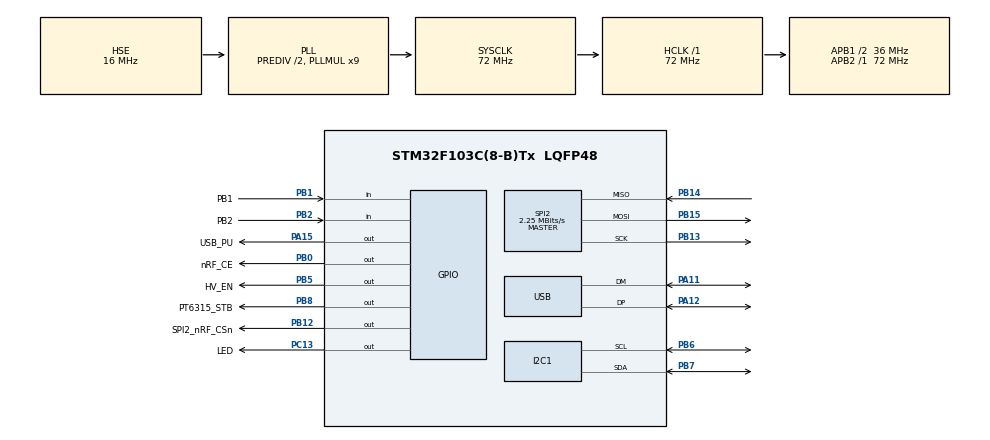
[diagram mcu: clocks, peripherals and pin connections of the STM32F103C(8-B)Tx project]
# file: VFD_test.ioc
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Mcu.Family=STM32F1
Mcu.Name=STM32F103C(8-B)Tx
Mcu.Package=LQFP48
NVIC.PriorityGroup=NVIC_PRIORITYGROUP_4
NVIC.USB_LP_CAN1_RX0_IRQn=true\:0\:0\:false\:false\:true\:false\:true
PA11.Mode=Device
PA11.Signal=USB_DM
PA12.Mode=Device
PA12.Signal=USB_DP
PA13.Mode=Serial_Wire
PA13.Signal=SYS_JTMS-SWDIO
PA14.Mode=Serial_Wire
PA14.Signal=SYS_JTCK-SWCLK
PA15.GPIO_Label=USB_PU
PA15.Signal=GPIO_Output
PB0.GPIO_Label=nRF_CE
PB0.Signal=GPIO_Output
PB1.GPIO_Label=PB1
PB1.Signal=GPIO_Input
PB12.GPIO_Label=SPI2_nRF_CSn
PB12.Signal=GPIO_Output
PB13.Mode=Full_Duplex_Master
PB13.Signal=SPI2_SCK
PB14.Mode=Full_Duplex_Master
PB14.Signal=SPI2_MISO
PB15.Mode=Full_Duplex_Master
PB15.Signal=SPI2_MOSI
PB2.GPIO_Label=PB2
PB2.Signal=GPIO_Input
PB5.GPIO_Label=HV_EN
PB5.Signal=GPIO_Output
PB6.Mode=I2C
PB6.Signal=I2C1_SCL
PB7.Mode=I2C
PB7.Signal=I2C1_SDA
PB8.GPIO_Label=PT6315_STB
PB8.PinState=GPIO_PIN_SET
PB8.Signal=GPIO_Output
PC13-TAMPER-RTC.GPIO_Label=LED
PC13-TAMPER-RTC.PinState=GPIO_PIN_SET
PC13-TAMPER-RTC.Signal=GPIO_Output
PD0-OSC_IN.Mode=HSE-External-Oscillator
PD0-OSC_IN.Signal=RCC_OSC_IN
PD1-OSC_OUT.Mode=HSE-External-Oscillator
PD1-OSC_OUT.Signal=RCC_OSC_OUT
ProjectManager.HeapSize=0x200
ProjectManager.StackSize=0x400
ProjectManager.TargetToolchain=STM32CubeIDE
RCC.AHBFreq_Value=72000000
RCC.APB1CLKDivider=RCC_HCLK_DIV2
RCC.APB1Freq_Value=36000000
RCC.APB1TimFreq_Value=72000000
RCC.APB2Freq_Value=72000000
RCC.APB2TimFreq_Value=72000000
RCC.HCLKFreq_Value=72000000
RCC.HSEDivPLL=RCC_HSE_PREDIV_DIV2
RCC.HSE_VALUE=16000000
RCC.PLLMUL=RCC_PLL_MUL9
RCC.PLLSourceVirtual=RCC_PLLSOURCE_HSE
RCC.SYSCLKFreq_VALUE=72000000
RCC.SYSCLKSource=RCC_SYSCLKSOURCE_PLLCLK
RCC.USBFreq_Value=48000000
RCC.USBPrescaler=RCC_USBCLKSOURCE_PLL_DIV1_5
SPI2.BaudRatePrescaler=SPI_BAUDRATEPRESCALER_16
SPI2.CLKPhase=SPI_PHASE_1EDGE
SPI2.CLKPolarity=SPI_POLARITY_LOW
SPI2.CalculateBaudRate=2.25 MBits/s
SPI2.Direction=SPI_DIRECTION_2LINES
SPI2.FirstBit=SPI_FIRSTBIT_LSB
SPI2.Mode=SPI_MODE_MASTER
SPI2.VirtualType=VM_MASTER
TIM1.AutoReloadPreload=TIM_AUTORELOAD_PRELOAD_ENABLE
TIM1.Prescaler=HAL_RCC_GetSysClockFreq()/1000000-1
USB_DEVICE.CLASS_NAME_FS=CDC
USB_DEVICE.VirtualMode=Cdc
USB_DEVICE.VirtualModeFS=Cdc_FS
VP_TIM1_VS_ClockSourceINT.Mode=Internal
VP_USB_DEVICE_VS_USB_DEVICE_CDC_FS.Mode=CDC_FS
board=custom

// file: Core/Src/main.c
/* USER CODE BEGIN Header */
/**
  ******************************************************************************
  * @file           : main.c
  * @brief          : Main program body
  ******************************************************************************
  * @attention
  *
  * <h2><center>&copy; Copyright (c) 2021 STMicroelectronics.
  * All rights reserved.</center></h2>
  *
  * This software component is licensed by ST under BSD 3-Clause license,
  * the "License"; You may not use this file except in compliance with the
  * License. You may obtain a copy of the License at:
  *                        opensource.org/licenses/BSD-3-Clause
  *
  ******************************************************************************
  */
/* USER CODE END Header */
#include "main.h"
#include "usb_device.h"

/* USER CODE BEGIN Includes */
#include "vfd.h"
#include "nrf24l01p.h"
#include "string.h"
#include "usbd_cdc_if.h"
#include "microrl_cmd.h"
#include "fifo.h"

#include "nrff.h"

/* USER CODE END Includes */

I2C_HandleTypeDef hi2c1;

SPI_HandleTypeDef hspi2;

TIM_HandleTypeDef htim1;

void SystemClock_Config(void);
static void MX_GPIO_Init(void);
static void MX_SPI2_Init(void);
static void MX_I2C1_Init(void);
static void MX_TIM1_Init(void);
/* USER CODE BEGIN PFP */

void do_microrl(void);
bool do_nrf_scan(int8_t command);

/* USER CODE END PFP */

/* USER CODE BEGIN 0 */

uint32_t nrff_get_tick()
{
	return HAL_GetTick();
}

uint32_t last_active_time;
bool active_berserk = false;

void active(void)
{
	last_active_time = HAL_GetTick();
}

enum
{
    NRF_CHANNEL = 111,
    NRF_POWER_UP_DELAY = 2,
    NRF_PAYLOAD_LENGTH = 32,
    NRF_RETRANSMITS = 5,
    NRF_RETRANSMIT_DELAY = 500
};

uint8_t address[5] = { 0x31, 0x41, 0x59, 0x26, 0x56 };

#define PB1 (HAL_GPIO_ReadPin(PB1_GPIO_Port, PB1_Pin))
#define PB2 (HAL_GPIO_ReadPin(PB2_GPIO_Port, PB2_Pin))

// delays for us count
void delay_us(uint16_t us)
{
	__HAL_TIM_SET_COUNTER(&htim1,0);
	while ((uint16_t)__HAL_TIM_GET_COUNTER(&htim1) < us);
}

void delay(uint32_t delay)
{
	HAL_Delay(delay);
}

void nrf_init_tx(uint8_t *address)
{
    nrf24l01p_get_clear_irq_flags();
    nrf24l01p_close_pipe(NRF24L01P_ALL);
    nrf24l01p_open_pipe(NRF24L01P_TX, true);

    nrf24l01p_set_datarate(NRF24L01P_250KBPS);

    nrf24l01p_set_auto_retr(NRF_RETRANSMITS, NRF_RETRANSMIT_DELAY);
    nrf24l01p_open_pipe(NRF24L01P_PIPE0, true);
    nrf24l01p_set_address(NRF24L01P_PIPE0, address);

    nrf24l01p_set_crc_mode(NRF24L01P_CRC_16BIT);
    nrf24l01p_set_address_width(NRF24L01P_AW_5BYTES);
    nrf24l01p_set_address(NRF24L01P_TX, address);
    nrf24l01p_set_operation_mode(NRF24L01P_PTX);
    nrf24l01p_set_rf_channel(NRF_CHANNEL);

    nrf24l01p_set_power_mode(NRF24L01P_PWR_UP);
    delay(NRF_POWER_UP_DELAY);
}

void nrf_init_rx(uint8_t *address)
{
    nrf24l01p_get_clear_irq_flags();
    nrf24l01p_close_pipe(NRF24L01P_ALL);
    nrf24l01p_open_pipe(NRF24L01P_PIPE0, true);

    nrf24l01p_set_datarate(NRF24L01P_250KBPS);

    nrf24l01p_set_crc_mode(NRF24L01P_CRC_16BIT);
    nrf24l01p_set_address_width(NRF24L01P_AW_5BYTES);
    nrf24l01p_set_address(NRF24L01P_PIPE0, address);
    nrf24l01p_set_operation_mode(NRF24L01P_PRX);
    nrf24l01p_set_rx_payload_width(NRF24L01P_PIPE0, NRF_PAYLOAD_LENGTH);
    nrf24l01p_set_rf_channel(NRF_CHANNEL);

    nrf24l01p_set_power_mode(NRF24L01P_PWR_UP);
    delay(NRF_POWER_UP_DELAY);
}

void nrf24l01p_spi_ss(nrf24l01p_spi_ss_level_t level)
{
	// we will transmit data to nRF, MSB FIRST
	if (!level)
		hspi2.Instance->CR1 &= ~(SPI_CR1_LSBFIRST);
	HAL_GPIO_WritePin(SPI2_nRF_CSn_GPIO_Port, SPI2_nRF_CSn_Pin, level);
	// we will transmit data to VFD, LSB FIRST
	if (level)
		hspi2.Instance->CR1 |= SPI_CR1_LSBFIRST;
}

uint8_t nrf24l01p_spi_rw(uint8_t value)
{
	uint8_t data;
	HAL_SPI_TransmitReceive(&hspi2, &value, &data, 1, 100);
	return data;
}

void vfd_spi_cs(vfd_cs_t cs)
{
	HAL_GPIO_WritePin(PT6315_STB_GPIO_Port, PT6315_STB_Pin, cs);
}

void vfd_spi_tx(uint8_t *pData, uint16_t Size)
{
	HAL_SPI_Transmit(&hspi2, pData, Size, 100);
}

void do_vfd_init(void)
{
#define FULL_DEMO (0)
	vfd_spi_cs(VFD_CS_HIGH);
	HAL_GPIO_WritePin(HV_EN_GPIO_Port, HV_EN_Pin, 1);
	HAL_Delay(10);

	vfd_init(); // init display, 11 digits 17 segments
	vfd_leds(0); // disable leds

	for (int i = 0; i < sizeof(vfd.arr1); i++) {
		vfd.arr1[i] = 0xFF;
	}

	vfd_update();
	vfd_control(true, 0b111);

	if(FULL_DEMO)
	{
		// change brightness
		for (uint8_t i = 0; i <= 0b111; i++) {
			vfd_control(true, i);
			HAL_Delay(250);
			do_microrl();
		}

		for (int i = 0; i < 11; i++) {
			for (int b = 0; b < 3; b++) // erasing from right to left
			{
				vfd.arr2[i][b] = 0;
			}
			vfd_update();
			HAL_Delay(150);
			do_microrl();
		}
		HAL_Delay(500);
		do_microrl();
	}

	//erase everything... just in case
	vfd_clear_buf();

	// fill everything
	for (int j = 1; j < 15; j++) {
		uint32_t temp = 1 << j;
		for (int i = 1; i < 11; i++) {
			for (int b = 0; b < 3; b++) {
				vfd.arr2[i][b] |= (temp >> (b << 3)) & 0xFF;
			}
		}
		vfd_update();
		HAL_Delay(100);
		do_microrl();
	}

	const uint32_t arr[] = {
			VFD_SYM_COLON,
			VFD_SYM_DIGITAL,
			VFD_SYM_ANALOG,
			VFD_SYM_BRACKET_RIGHT,
			VFD_SYM_SMALL_ARROW_LEFT,
			VFD_SYM_BRACKET_LEFT,
			VFD_SYM_SMALL_ARROW_RIGHT,
			VFD_SYM_DCC,
	};

	for (int j = 0; j < sizeof(arr)/sizeof(arr[0]); j++) {
		vfd_set_symbols(arr[j]);
		vfd_update();
		HAL_Delay(50);
		do_microrl();
	}

	for (int j = 0; j < 17; j++) {
		vfd_set_symbols(1<<j);
		vfd_update();
		HAL_Delay(50);
		do_microrl();
	}

	vfd_clear_buf();
	HAL_Delay(500);
}

void do_led(void)
{
	static uint32_t last_time = 0;
	if (HAL_GetTick() - last_time < 500)
		return;
	last_time = HAL_GetTick();
	HAL_GPIO_TogglePin(LED_GPIO_Port, LED_Pin);
}

void do_fram_test(void)
{
	bool read(void)
	{
		uint8_t temp;
		HAL_I2C_Mem_Read(&hi2c1, 0b10100000, 0x42, 1, &temp, 1, 10);
		if (temp != 0x42)
			return false;
		HAL_I2C_Mem_Read(&hi2c1, 0b10100010, 0x5A, 1, &temp, 1, 10);
		if (temp != 0xA5)
			return false;
		return true;
	}
	void write(void)
	{
		uint8_t temp = 0x42;
		HAL_I2C_Mem_Write(&hi2c1, 0b10100000, 0x42, 1, &temp, 1, 10);
		temp = 0xA5;
		HAL_I2C_Mem_Write(&hi2c1, 0b10100010, 0x5A, 1, &temp, 1, 10);
	}
	static uint32_t last_time = 0;
	if (HAL_GetTick() - last_time < 200)
		return;
	if (PB1 && PB2)
	{
		HAL_GPIO_WritePin(LED_GPIO_Port, LED_Pin, 0); // turn led on
		vfd_put_string("FRAM TEST");
		vfd_update();
		for (int i = 0; i < 3; i++)
		{
			vfd_leds(~(1<<i));
			HAL_Delay(250);
		}
		vfd_leds(0b1111);
		HAL_Delay(500);
		if (read())
		{
			vfd_leds(0b0100);
			vfd_put_string("FRAM FOUND");
			vfd_update();
		}
		else
		{
			vfd_leds(0b0001);
			write();
			HAL_Delay(500);
			if (read())
			{
				vfd_leds(0b0011);
				vfd_put_string("FRAM OKAY");
				vfd_update();
			}
			else
			{
				vfd_leds(0b1000);
				vfd_put_string("NO FRAM!");
				vfd_update();
			}
		}

		while(PB1);
		if (PB2)
		{
			// PB2 still pressed, erase RAM
			vfd_leds(0b1001);
			uint8_t zero[256] = {0};
			//first half
			HAL_I2C_Mem_Write(&hi2c1, 0b10100000, 0, 1, zero, sizeof(zero), 200);
			//second half
			HAL_I2C_Mem_Write(&hi2c1, 0b10100010, 0, 1, zero, sizeof(zero), 200);
			HAL_Delay(500);
			vfd_leds(0b1010);
			while (PB2);
		}
	}
	last_time = HAL_GetTick();
}

#define BIT(index) ((uint8_t)1 << (uint8_t)(index))
#define BIT_COND(data,index,condition) (((uint8_t)(data) & ~BIT(index)) | ((condition) ? BIT(index) : (uint8_t)0))
bool do_buttons_and_nrf(void)
{
	static bool set_rx = true;
	static uint32_t last_time = 0;
	if (HAL_GetTick() - last_time < (set_rx?290:270))
		return false;
	last_time = HAL_GetTick();

	static uint32_t good = 0, total = 0;

	if (PB1 ^ PB2)
	{
		// we need to transmit
		set_rx = true;
		HAL_GPIO_WritePin(nRF_CE_GPIO_Port, nRF_CE_Pin, 0);
		HAL_Delay(10);
		nrf_init_tx(address);

		static uint8_t payload[NRF_PAYLOAD_LENGTH];
		memset(payload, 0x44, sizeof(payload));
		if (PB1)
			payload[0] = 1;
		else if (PB2)
			payload[0] = 2;
		else
			return false;
		nrf24l01p_write_tx_payload(payload, sizeof(payload));

		HAL_GPIO_WritePin(nRF_CE_GPIO_Port, nRF_CE_Pin, 1);
		HAL_Delay(1);
		HAL_GPIO_WritePin(nRF_CE_GPIO_Port, nRF_CE_Pin, 0);

		if (payload[0] == 1)
		{
			vfd_leds(0b0001);
		}
		else
		{
			vfd_leds(0b0010);
		}
		vfd_update();

		uint32_t timeout_cnt = HAL_GetTick();

		total++;

		do {
			if (nrf24l01p_get_irq_flags() & (1 << NRF24L01P_IRQ_TX_DS))
			{
				//successfully transmitted
				good++;
				if (total >= 10)
				{
					char t_buf[11];
					snprintf(t_buf, 11, "-%ld+%ld", total-good, good);
					vfd_put_string(t_buf);
				} else if (payload[0] == 1)
					vfd_put_string("PB1 TX");
				else
					vfd_put_string("PB2 TX");
				vfd_update();
				nrf24l01p_clear_irq_flag(NRF24L01P_IRQ_TX_DS);
				break;
			}
			if (nrf24l01p_get_irq_flags() & (1 << NRF24L01P_IRQ_MAX_RT))
			{
				// not send
				vfd_set_symbols(VFD_SYM_ARROW_LEFT);
				vfd_leds(0b1000);
				if (total >= 10)
				{
					char t_buf[11];
					snprintf(t_buf, 11, "-%ld+%ld", total-good, good);
					vfd_put_string(t_buf);
				} else if (payload[0] == 1)
					vfd_put_string("PB1 MAX RT");
				else
					vfd_put_string("PB2 MAX RT");
				vfd_update();
				nrf24l01p_clear_irq_flag(NRF24L01P_IRQ_MAX_RT);
				nrf24l01p_flush_tx();

				uint32_t but_hold = HAL_GetTick();
				while(active_berserk && (PB1 || PB2))
				{
					if (HAL_GetTick() - but_hold > 2000)
					{
						vfd_put_string("BERSERK");
						vfd_update();
						nrf24l01p_set_operation_mode(NRF24L01P_PTX);

						nrf24l01p_set_rf_channel(NRF_CHANNEL);
						nrf24l01p_set_power_mode(NRF24L01P_PWR_UP);
						nrf24l01p_set_pll_mode(NRF24L01P_PLL_LOCK);
						nrf24l01p_write_reg(NRF24L01P_RF_SETUP,
								BIT_COND(nrf24l01p_read_reg(NRF24L01P_RF_SETUP),
										NRF24L01P_RF_SETUP_CONT_WAVE, 1));
						delay(NRF_POWER_UP_DELAY);
						HAL_GPIO_WritePin(nRF_CE_GPIO_Port, nRF_CE_Pin, 1);
						while(PB1||PB2);
						nrf24l01p_write_reg(NRF24L01P_RF_SETUP,
								BIT_COND(nrf24l01p_read_reg(NRF24L01P_RF_SETUP),
										NRF24L01P_RF_SETUP_CONT_WAVE, 0));
						nrf24l01p_set_pll_mode(NRF24L01P_PLL_UNLOCK);
						HAL_GPIO_WritePin(nRF_CE_GPIO_Port, nRF_CE_Pin, 0);
					}
				}
				break;
			}
			if (HAL_GetTick() - timeout_cnt > 200)
			{
				// timeout error
				vfd_set_symbols(VFD_SYM_ARROW_RIGHT);
				vfd_leds(0b1011);
				if (total >= 10)
				{
					char t_buf[11];
					snprintf(t_buf, 11, "-%ld+%ld", total-good, good);
					vfd_put_string(t_buf);
				} else if (payload[0] == 1)
					vfd_put_string("PB1 T/OUT");
				else
					vfd_put_string("PB2 T/OUT");
				vfd_update();
				nrf24l01p_flush_tx();
				//while(PB1||PB2);
				break;
			}

		} while (1);
		return true; // we where active
	}
	else
	{
		// we need to receive
		good = 0;
		total = 0;

		if (set_rx)
		{
			set_rx = false;
			nrf_init_rx(address);
			HAL_GPIO_WritePin(nRF_CE_GPIO_Port, nRF_CE_Pin, 1);
		}

		if (nrf24l01p_get_irq_flags() & (1 << NRF24L01P_IRQ_RX_DR))
		{
			nrf24l01p_clear_irq_flag(NRF24L01P_IRQ_RX_DR);

			uint8_t payload[NRF_PAYLOAD_LENGTH];

			while (!nrf24l01p_rx_fifo_empty())
				nrf24l01p_read_rx_payload(payload);

			if (payload[0] == 1)
			{
				vfd_leds(0b0101);
				vfd_put_string("* RX PB1 *");
				vfd_set_symbols(VFD_SYM_ARROW_LEFT);
				vfd_update();
			}
			else if (payload[0] == 2)
			{
				vfd_leds(0b0110);
				vfd_put_string("* RX PB2 *");
				vfd_set_symbols(VFD_SYM_ARROW_RIGHT);
				vfd_update();
			}
			return true; // we have something received
		}
		else
		{
			// no buttons pressed and nothing received
			return false;
		}
	}
	return false;
}

void do_microrl(void)
{
	while (!fifo_is_empty())
	{
		uint8_t buf = fifo_pop();
		microrl_print_char(buf);
	}
}

void sigint(void)
{
	print (ENDL);
	print ("^C catched!");
	do_nrf_scan(-1);
	active();
	vfd_put_string("CTRL + C");
	vfd_set_symbols(VFD_SYM_DCC);
	vfd_update();
	vfd_update();

	// emulate ENTER input to print the promptexecute
	char * p = ENDL;
	while(*p) fifo_push(*(p++));
}

bool do_nrf_scan(int8_t command)
{
	static bool active = false;
	static uint8_t arr[NRF24L01P_CHANNELS_COUNT] = {0};

	if (command == -1)
	{
		active = false;
		print(ENDL);
		print("O000000000000000111111111111111122222222222222223333333333333333");
		print("44444444444444445555555555555555666666666666666677777777777777");
		print(ENDL);
		print("O123456789abcdef0123456789abcdef0123456789abcdef0123456789abcdef");
		print("0123456789abcdef0123456789abcdef0123456789abcdef0123456789abcd");
		print(ENDL);
	}
	if (command == 1)
	{
		memset(arr, 0, NRF24L01P_CHANNELS_COUNT);
		print("O000000000000000111111111111111122222222222222223333333333333333");
		print("44444444444444445555555555555555666666666666666677777777777777");
		print(ENDL);
		print("O123456789abcdef0123456789abcdef0123456789abcdef0123456789abcdef");
		print("0123456789abcdef0123456789abcdef0123456789abcdef0123456789abcd");
		print(ENDL);
		active = true;
		return false;
	}
	if (!active)
		return false;

	HAL_GPIO_WritePin(nRF_CE_GPIO_Port, nRF_CE_Pin,0);
	nrf24l01p_get_clear_irq_flags();
    nrf24l01p_close_pipe(NRF24L01P_ALL);
    nrf24l01p_open_pipe(NRF24L01P_PIPE0, false);
    uint8_t add[] = {0x05, 0xA5, 0x55, 0xA5, 0x50};
    nrf24l01p_set_address(NRF24L01P_PIPE0, add);
    nrf24l01p_set_operation_mode(NRF24L01P_PRX);
    nrf24l01p_set_rx_payload_width(NRF24L01P_PIPE0, NRF_PAYLOAD_LENGTH);
    nrf24l01p_set_power_mode(NRF24L01P_PWR_UP);
    delay(NRF_POWER_UP_DELAY);

	for (int i = 0; i < NRF24L01P_CHANNELS_COUNT; i++)
	{
	    nrf24l01p_set_rf_channel(i);
		HAL_GPIO_WritePin(nRF_CE_GPIO_Port, nRF_CE_Pin,1);
		delay_us(5000);
		HAL_GPIO_WritePin(nRF_CE_GPIO_Port, nRF_CE_Pin,0);
		if (nrf24l01p_get_carrier_detect())
			if (arr[i] < 0xff)
				arr[i]++;
	}
	uint8_t packet[NRF24L01P_CHANNELS_COUNT + 1] = {0};
	for (int i = 0; i < NRF24L01P_CHANNELS_COUNT; i++)
	{
		if (arr[i] >=0xa0)
			packet[i] = ((arr[i]>>4)&0xF) + 'A' - 0xa;
		else
			packet[i] = (arr[i] < 0xf?arr[i]:0xf) + ((arr[i] < 10)?'0':('a' - 0xa));
	}
	print((char *)packet);
	print(ENDL);
	return true;
}

int nrf_scan (int argc, const char * const * argv)
{
	vfd_put_string("NRF SCAN");
	do_nrf_scan(1);
	vfd_update();
	active();
	return 0;
}
/* USER CODE END 0 */

int main(void)
{

  /* MCU Configuration--------------------------------------------------------*/

  /* Reset of all peripherals, Initializes the Flash interface and the Systick. */
  HAL_Init();

  /* Configure the system clock */
  SystemClock_Config();

  /* Initialize all configured peripherals */
  MX_GPIO_Init();
  MX_SPI2_Init();
  MX_I2C1_Init();
  MX_USB_DEVICE_Init();
  MX_TIM1_Init();
  /* USER CODE BEGIN 2 */
  __HAL_SPI_ENABLE(&hspi2);
  HAL_TIM_Base_Start(&htim1);

  HAL_GPIO_WritePin(USB_PU_GPIO_Port, USB_PU_Pin, 1);
  init_microrl(); // we are ready for microrl!

  uint8_t test;
  nrf24l01p_spi_ss(NRF24L01P_SPI_SS_HIGH);

  if (PB1 || PB2)
	  active_berserk = true;
  else
	  HAL_GPIO_WritePin(LED_GPIO_Port, LED_Pin, 0);

  do_vfd_init();

  test = nrf24l01p_nop();
  if ((test&0b1110) == 0b1110)
  {
	  vfd_put_string("NRF24L01+");
	  vfd_set_symbols(VFD_SYM_DOLBY);
  }
  else
  {
	  vfd_put_string("VFD FV651G");
  }
  vfd_update();

  /* USER CODE END 2 */

  /* Infinite loop */
  /* USER CODE BEGIN WHILE */

  last_active_time = HAL_GetTick();
  while (1)
  {
	  do_led();
	  do_fram_test();
	  do_microrl();
	  if (do_nrf_scan(0))
	  {
		  // last_active_time = HAL_GetTick();
		  // disable display for long tests
	  }
	  else if (do_buttons_and_nrf())
	  {
		  last_active_time = HAL_GetTick();
	  }

	  // disable if inactive

	  if (HAL_GetTick() - last_active_time > 1000)
	  {
		  vfd_leds(0);
		  vfd_clr_symbols(~VFD_SYM_DOLBY);
		  vfd_update();
	  }

	  if (HAL_GetTick() - last_active_time > 10000)
		  HAL_GPIO_WritePin(HV_EN_GPIO_Port, HV_EN_Pin, 0);
	  else
	  {
		  HAL_GPIO_WritePin(HV_EN_GPIO_Port, HV_EN_Pin, 1);
		  if (HAL_GetTick() - last_active_time > 3000)
		  {
			  char buf [11];
			  memset(buf, '\0', sizeof(buf));
			  memset(buf, '_', 10-((HAL_GetTick() - last_active_time)/1000));
			  vfd_put_string(buf);
			  vfd_update();
		  }
	  }

    /* USER CODE END WHILE */

  }
}

void SystemClock_Config(void)
{
  RCC_OscInitTypeDef RCC_OscInitStruct = {0};
  RCC_ClkInitTypeDef RCC_ClkInitStruct = {0};
  RCC_PeriphCLKInitTypeDef PeriphClkInit = {0};

  /** Initializes the RCC Oscillators according to the specified parameters
  * in the RCC_OscInitTypeDef structure.
  */
  RCC_OscInitStruct.OscillatorType = RCC_OSCILLATORTYPE_HSE;
  RCC_OscInitStruct.HSEState = RCC_HSE_ON;
  RCC_OscInitStruct.HSEPredivValue = RCC_HSE_PREDIV_DIV2;
  RCC_OscInitStruct.HSIState = RCC_HSI_ON;
  RCC_OscInitStruct.PLL.PLLState = RCC_PLL_ON;
  RCC_OscInitStruct.PLL.PLLSource = RCC_PLLSOURCE_HSE;
  RCC_OscInitStruct.PLL.PLLMUL = RCC_PLL_MUL9;
  if (HAL_RCC_OscConfig(&RCC_OscInitStruct) != HAL_OK)
  {
    Error_Handler();
  }
  /** Initializes the CPU, AHB and APB buses clocks
  */
  RCC_ClkInitStruct.ClockType = RCC_CLOCKTYPE_HCLK|RCC_CLOCKTYPE_SYSCLK
                              |RCC_CLOCKTYPE_PCLK1|RCC_CLOCKTYPE_PCLK2;
  RCC_ClkInitStruct.SYSCLKSource = RCC_SYSCLKSOURCE_PLLCLK;
  RCC_ClkInitStruct.AHBCLKDivider = RCC_SYSCLK_DIV1;
  RCC_ClkInitStruct.APB1CLKDivider = RCC_HCLK_DIV2;
  RCC_ClkInitStruct.APB2CLKDivider = RCC_HCLK_DIV1;

  if (HAL_RCC_ClockConfig(&RCC_ClkInitStruct, FLASH_LATENCY_2) != HAL_OK)
  {
    Error_Handler();
  }
  PeriphClkInit.PeriphClockSelection = RCC_PERIPHCLK_USB;
  PeriphClkInit.UsbClockSelection = RCC_USBCLKSOURCE_PLL_DIV1_5;
  if (HAL_RCCEx_PeriphCLKConfig(&PeriphClkInit) != HAL_OK)
  {
    Error_Handler();
  }
}

static void MX_I2C1_Init(void)
{

  hi2c1.Instance = I2C1;
  hi2c1.Init.ClockSpeed = 100000;
  hi2c1.Init.DutyCycle = I2C_DUTYCYCLE_2;
  hi2c1.Init.OwnAddress1 = 0;
  hi2c1.Init.AddressingMode = I2C_ADDRESSINGMODE_7BIT;
  hi2c1.Init.DualAddressMode = I2C_DUALADDRESS_DISABLE;
  hi2c1.Init.OwnAddress2 = 0;
  hi2c1.Init.GeneralCallMode = I2C_GENERALCALL_DISABLE;
  hi2c1.Init.NoStretchMode = I2C_NOSTRETCH_DISABLE;
  if (HAL_I2C_Init(&hi2c1) != HAL_OK)
  {
    Error_Handler();
  }

}

static void MX_SPI2_Init(void)
{

  /* SPI2 parameter configuration*/
  hspi2.Instance = SPI2;
  hspi2.Init.Mode = SPI_MODE_MASTER;
  hspi2.Init.Direction = SPI_DIRECTION_2LINES;
  hspi2.Init.DataSize = SPI_DATASIZE_8BIT;
  hspi2.Init.CLKPolarity = SPI_POLARITY_LOW;
  hspi2.Init.CLKPhase = SPI_PHASE_1EDGE;
  hspi2.Init.NSS = SPI_NSS_SOFT;
  hspi2.Init.BaudRatePrescaler = SPI_BAUDRATEPRESCALER_16;
  hspi2.Init.FirstBit = SPI_FIRSTBIT_LSB;
  hspi2.Init.TIMode = SPI_TIMODE_DISABLE;
  hspi2.Init.CRCCalculation = SPI_CRCCALCULATION_DISABLE;
  hspi2.Init.CRCPolynomial = 10;
  if (HAL_SPI_Init(&hspi2) != HAL_OK)
  {
    Error_Handler();
  }

}

static void MX_TIM1_Init(void)
{

  TIM_ClockConfigTypeDef sClockSourceConfig = {0};
  TIM_MasterConfigTypeDef sMasterConfig = {0};

  htim1.Instance = TIM1;
  htim1.Init.Prescaler = HAL_RCC_GetSysClockFreq()/1000000-1;
  htim1.Init.CounterMode = TIM_COUNTERMODE_UP;
  htim1.Init.Period = 65535;
  htim1.Init.ClockDivision = TIM_CLOCKDIVISION_DIV1;
  htim1.Init.RepetitionCounter = 0;
  htim1.Init.AutoReloadPreload = TIM_AUTORELOAD_PRELOAD_ENABLE;
  if (HAL_TIM_Base_Init(&htim1) != HAL_OK)
  {
    Error_Handler();
  }
  sClockSourceConfig.ClockSource = TIM_CLOCKSOURCE_INTERNAL;
  if (HAL_TIM_ConfigClockSource(&htim1, &sClockSourceConfig) != HAL_OK)
  {
    Error_Handler();
  }
  sMasterConfig.MasterOutputTrigger = TIM_TRGO_RESET;
  sMasterConfig.MasterSlaveMode = TIM_MASTERSLAVEMODE_DISABLE;
  if (HAL_TIMEx_MasterConfigSynchronization(&htim1, &sMasterConfig) != HAL_OK)
  {
    Error_Handler();
  }

}

static void MX_GPIO_Init(void)
{
  GPIO_InitTypeDef GPIO_InitStruct = {0};

  /* GPIO Ports Clock Enable */
  __HAL_RCC_GPIOC_CLK_ENABLE();
  __HAL_RCC_GPIOD_CLK_ENABLE();
  __HAL_RCC_GPIOB_CLK_ENABLE();
  __HAL_RCC_GPIOA_CLK_ENABLE();

  /*Configure GPIO pin Output Level */
  HAL_GPIO_WritePin(LED_GPIO_Port, LED_Pin, GPIO_PIN_SET);

  /*Configure GPIO pin Output Level */
  HAL_GPIO_WritePin(GPIOB, nRF_CE_Pin|SPI2_nRF_CSn_Pin|HV_EN_Pin, GPIO_PIN_RESET);

  /*Configure GPIO pin Output Level */
  HAL_GPIO_WritePin(USB_PU_GPIO_Port, USB_PU_Pin, GPIO_PIN_RESET);

  /*Configure GPIO pin Output Level */
  HAL_GPIO_WritePin(PT6315_STB_GPIO_Port, PT6315_STB_Pin, GPIO_PIN_SET);

  /*Configure GPIO pin : LED_Pin */
  GPIO_InitStruct.Pin = LED_Pin;
  GPIO_InitStruct.Mode = GPIO_MODE_OUTPUT_PP;
  GPIO_InitStruct.Pull = GPIO_NOPULL;
  GPIO_InitStruct.Speed = GPIO_SPEED_FREQ_LOW;
  HAL_GPIO_Init(LED_GPIO_Port, &GPIO_InitStruct);

  /*Configure GPIO pins : nRF_CE_Pin SPI2_nRF_CSn_Pin HV_EN_Pin PT6315_STB_Pin */
  GPIO_InitStruct.Pin = nRF_CE_Pin|SPI2_nRF_CSn_Pin|HV_EN_Pin|PT6315_STB_Pin;
  GPIO_InitStruct.Mode = GPIO_MODE_OUTPUT_PP;
  GPIO_InitStruct.Pull = GPIO_NOPULL;
  GPIO_InitStruct.Speed = GPIO_SPEED_FREQ_LOW;
  HAL_GPIO_Init(GPIOB, &GPIO_InitStruct);

  /*Configure GPIO pins : PB1_Pin PB2_Pin */
  GPIO_InitStruct.Pin = PB1_Pin|PB2_Pin;
  GPIO_InitStruct.Mode = GPIO_MODE_INPUT;
  GPIO_InitStruct.Pull = GPIO_NOPULL;
  HAL_GPIO_Init(GPIOB, &GPIO_InitStruct);

  /*Configure GPIO pin : USB_PU_Pin */
  GPIO_InitStruct.Pin = USB_PU_Pin;
  GPIO_InitStruct.Mode = GPIO_MODE_OUTPUT_PP;
  GPIO_InitStruct.Pull = GPIO_NOPULL;
  GPIO_InitStruct.Speed = GPIO_SPEED_FREQ_LOW;
  HAL_GPIO_Init(USB_PU_GPIO_Port, &GPIO_InitStruct);

}

void Error_Handler(void)
{
  __disable_irq();
  while (1)
  {
  }
}

/************************ (C) COPYRIGHT STMicroelectronics *****END OF FILE****/
